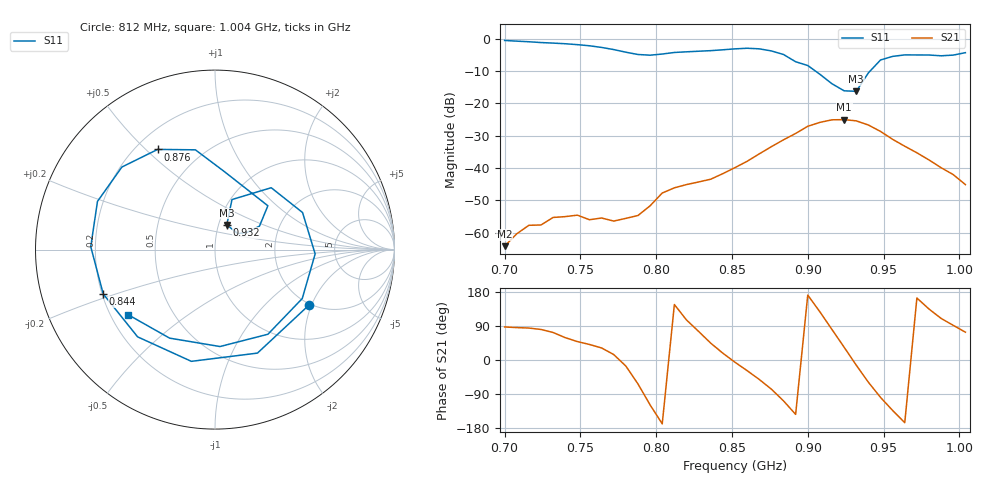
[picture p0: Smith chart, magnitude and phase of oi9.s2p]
# Hz S RI R 50
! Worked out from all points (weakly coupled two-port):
!   39 points, 700 MHz to 1.004 GHz, reference 50 ohm
!   highest |S21| = -25.08 dB at 924 MHz (marker M1); lowest = -64.2 dB at 700 MHz (marker M2)
!   lowest |S11| = -16.3 dB at 932 MHz (marker M3), VSWR 1.36, Z = 54.7 + j15.4 ohm
!   |S11| at or under -10 dB: 904.9 MHz to 941.2 MHz (36.36 MHz wide, 3.94 % of centre)
!   S12 and S22 are empty: the file has one direction only
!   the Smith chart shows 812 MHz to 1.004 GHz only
!   S11 on the Smith chart (normalised r, x): 812 MHz: 1.97, -1.92; 844 MHz: 0.20, -0.18; 876 MHz: 0.29, +0.54; 932 MHz: 1.09, +0.31; 1.004 GHz: 0.27, -0.31
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7e8  0.7697 0.5291  2.95e-05 0.000614  0 0  0 0
7.24e8  0.8266 -0.2616  0.000214 0.00129  0 0  0 0
7.4e8  0.4457 -0.701  0.000908 0.00151  0 0  0 0
7.56e8  -0.1956 -0.7473  0.00119 0.00103  0 0  0 0
7.72e8  -0.6495 -0.1843  0.00146 0.000371  0 0  0 0
7.8e8  -0.5698 0.2305  0.00159 -0.000456  0 0  0 0
7.88e8  -0.2163 0.5236  0.000825 -0.00164  0 0  0 0
7.96e8  0.2593 0.4883  -0.00124 -0.00227  0 0  0 0
8.04e8  0.56 0.1339  -0.004 -0.000818  0 0  0 0
8.12e8  0.526 -0.3069  -0.00409 0.00272  0 0  0 0
8.28e8  -0.1317 -0.6225  0.00153 0.00585  0 0  0 0
8.44e8  -0.6228 -0.2471  0.00775 0.0025  0 0  0 0
8.52e8  -0.6922 0.0164  0.01 -0.00105  0 0  0 0
8.76e8  -0.3194 0.5583  0.0048 -0.0207  0 0  0 0
9e8  0.2946 0.2442  -0.0434 0.00666  0 0  0 0
9.08e8  0.2478 0.1307  -0.0305 0.0403  0 0  0 0
9.24e8  0.1274 0.0891  0.0463 0.0309  0 0  0 0
9.32e8  0.0656 0.1377  0.0518 -0.0126  0 0  0 0
9.48e8  0.3133 0.3448  -0.00549 -0.0362  0 0  0 0
9.56e8  0.4878 0.2065  -0.0189 -0.0201  0 0  0 0
9.8e8  0.2948 -0.4716  -0.00927 0.00945  0 0  0 0
1.004e9  -0.4835 -0.363  0.00157 0.00528  0 0  0 0
